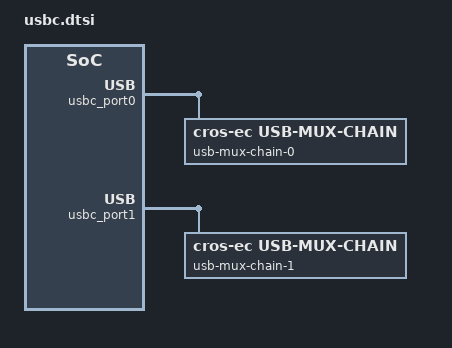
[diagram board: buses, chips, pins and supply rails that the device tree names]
/* Copyright 2022 The ChromiumOS Authors
 * Use of this source code is governed by a BSD-style license that can be
 * found in the LICENSE file.
 */

/ {
	usbc {
		#address-cells = <1>;
		#size-cells = <0>;

		usbc_port0: port0@0 {
			compatible = "named-usbc-port";
			reg = <0>;
			bc12 = <&bc12_port0>;
			ppc = <&ppc_port0_syv>;
			tcpc = <&tcpc_port0>;
			chg = <&charger>;
			usb-mux-chain-0 {
				compatible = "cros-ec,usb-mux-chain";
				usb-muxes = <&usb_c0_hb_retimer
					     &virtual_mux_c0>;
			};
		};
		port0-muxes {
			virtual_mux_c0: virtual-mux-c0 {
				compatible = "cros-ec,usbc-mux-virtual";
			};
		};

		usbc_port1: port1@1 {
			compatible = "named-usbc-port";
			reg = <1>;
			bc12 = <&bc12_port1>;
			ppc = <&ppc_nxp_port1>;
			tcpc = <&tcpc_port1>;
			usb-mux-chain-1 {
				compatible = "cros-ec,usb-mux-chain";
				/*usb-muxes = <&virtual_mux_c1 &tcpci_mux_c1>;*/
				/*usb-muxes = <&usb_c1_hb_retimer &virtual_mux_c1>;*/
				/*usb-muxes = <&usb_c1_anx_retimer &virtual_mux_c1>;*/
				usb-muxes = < &virtual_mux_c1 &usb_c1_anx_retimer>;
			};
			/*usb_mux_chain_anx7452_port1_off: usb-mux-chain-1-anx7452_off {
				compatible = "cros-ec,usb-mux-chain";
				usb-muxes = <&virtual_mux_c1>;
				alternative-chain;
			};*/
			/*usb_mux_chain_kb8010_port1: usb-mux-chain-1-kb8010 {
				compatible = "cros-ec,usb-mux-chain";
				usb-muxes = <&virtual_mux_c1>;
				alternative-chain;
			};*/
			/*usb_mux_chain_anx7451_port1: usb-mux-chain-1-anx7451 {
				compatible = "cros-ec,usb-mux-chain";
				usb-muxes = <&rt_anx_port1
					     &virtual_mux_c1>;
				alternative-chain;
			};*/
			/*usb_mux_chain_bb_port1: usb-mux-bb-port1 {
				compatible = "cros-ec,usb-mux-chain";
				/x alternative-chain; x/
				usb-muxes = <&usb_c1_bb_retimer
					     &virtual_mux_c1>;
			};*/
		};
		port1-muxes {
			/*tcpci_mux_c1: tcpci-mux-c1 {
				compatible = "cros-ec,usbc-mux-tcpci";
				hpd-update = "ps8xxx_tcpc_update_hpd_status";
			};*/
			virtual_mux_c1: virtual-mux-c1 {
				compatible = "cros-ec,usbc-mux-virtual";
				/*board-set = "some_board_set_function";*/
			};
		};
	};
};
